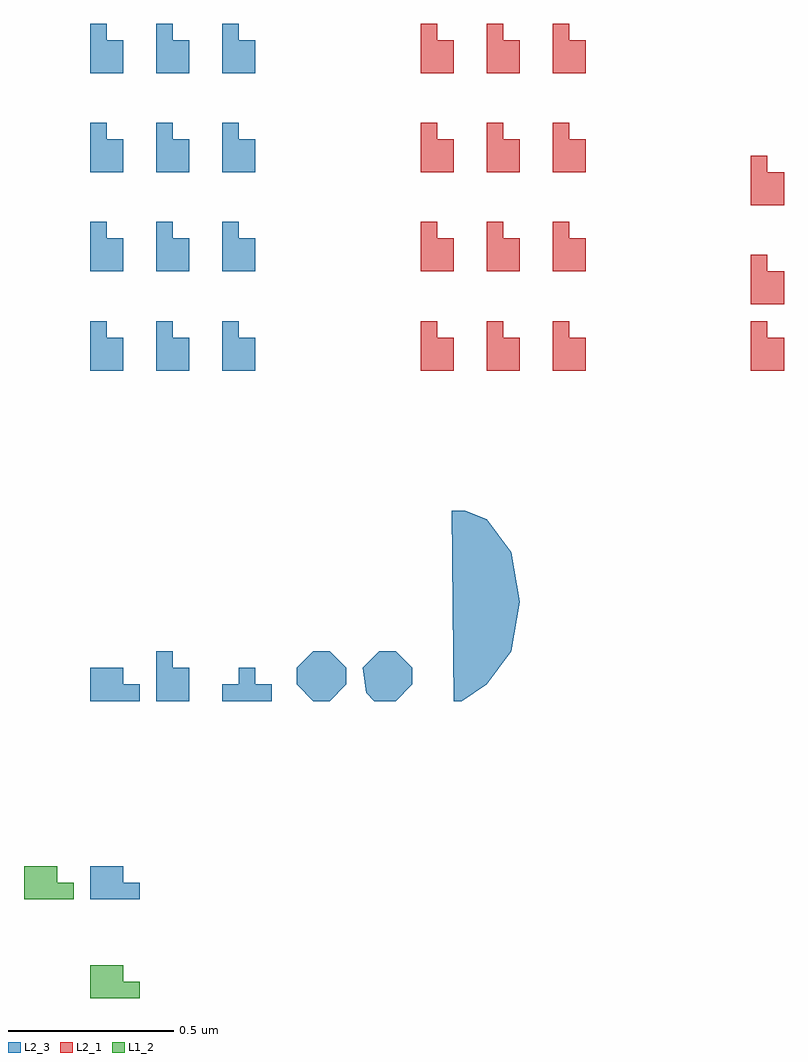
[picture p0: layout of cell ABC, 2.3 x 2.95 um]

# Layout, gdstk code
import gdstk
lib = gdstk.Library(unit=1e-6, precision=1e-09)
def P(c, l, *ps):  # polygons
    for p in ps: c.add(gdstk.Polygon(p, *l))
L1_2 = (1, 2)
L2_1 = (2, 1)
L2_3 = (2, 3)

abc = lib.new_cell('ABC')
P(abc, L1_2, [(0,0.1),(0.15,0.1),(0.15,0.15),(0.1,0.15),(0.1,0.2),(0,0.2)],
  [(-0.2,0.4),(-0.05,0.4),(-0.05,0.45),(-0.1,0.45),(-0.1,0.5),(-0.2,0.5)])
P(abc, L2_1, [(1,2),(1,2.15),(1.05,2.15),(1.05,2.1),(1.1,2.1),(1.1,2)],
  [(1.2,2),(1.2,2.15),(1.25,2.15),(1.25,2.1),(1.3,2.1),(1.3,2)],
  [(1.4,2),(1.4,2.15),(1.45,2.15),(1.45,2.1),(1.5,2.1),(1.5,2)],
  [(1,2.3),(1,2.45),(1.05,2.45),(1.05,2.4),(1.1,2.4),(1.1,2.3)],
  [(1.2,2.3),(1.2,2.45),(1.25,2.45),(1.25,2.4),(1.3,2.4),(1.3,2.3)],
  [(1.4,2.3),(1.4,2.45),(1.45,2.45),(1.45,2.4),(1.5,2.4),(1.5,2.3)],
  [(1,2.6),(1,2.75),(1.05,2.75),(1.05,2.7),(1.1,2.7),(1.1,2.6)],
  [(1.2,2.6),(1.2,2.75),(1.25,2.75),(1.25,2.7),(1.3,2.7),(1.3,2.6)],
  [(1.4,2.6),(1.4,2.75),(1.45,2.75),(1.45,2.7),(1.5,2.7),(1.5,2.6)],
  [(1,2.9),(1,3.05),(1.05,3.05),(1.05,3),(1.1,3),(1.1,2.9)],
  [(1.2,2.9),(1.2,3.05),(1.25,3.05),(1.25,3),(1.3,3),(1.3,2.9)],
  [(1.4,2.9),(1.4,3.05),(1.45,3.05),(1.45,3),(1.5,3),(1.5,2.9)],
  [(2,2),(2,2.15),(2.05,2.15),(2.05,2.1),(2.1,2.1),(2.1,2)],
  [(2,2.2),(2,2.35),(2.05,2.35),(2.05,2.3),(2.1,2.3),(2.1,2.2)],
  [(2,2.5),(2,2.65),(2.05,2.65),(2.05,2.6),(2.1,2.6),(2.1,2.5)])
P(abc, L2_3, [(0,0.4),(0.15,0.4),(0.15,0.45),(0.1,0.45),(0.1,0.5),(0,0.5)],
  [(0,1),(0.15,1),(0.15,1.05),(0.1,1.05),(0.1,1.1),(0,1.1)],
  [(0.2,1),(0.2,1.15),(0.25,1.15),(0.25,1.1),(0.3,1.1),(0.3,1)],
  [(0.4,1),(0.55,1),(0.55,1.05),(0.5,1.05),(0.5,1.1),(0.45,1.1),(0.45,1.05),(0.4,1.05)],
  [(0.7,1),(0.725,1),(0.775,1.05),(0.775,1.1),(0.725,1.15),(0.675,1.15),(0.625,1.1),(0.625,1.05),(0.675,1)],
  [(0.9,1),(0.925,1),(0.975,1.05),(0.975,1.1),(0.925,1.15),(0.875,1.15),(0.825,1.1),(0.835,1.025),(0.86,1)],
  [(1.1,1),(1.125,1),(1.2,1.05),(1.275,1.15),(1.3,1.3),(1.275,1.45),(1.2,1.55),(1.135,1.575),(1.095,1.575)],
  [(0,2),(0,2.15),(0.05,2.15),(0.05,2.1),(0.1,2.1),(0.1,2)],
  [(0.2,2),(0.2,2.15),(0.25,2.15),(0.25,2.1),(0.3,2.1),(0.3,2)],
  [(0.4,2),(0.4,2.15),(0.45,2.15),(0.45,2.1),(0.5,2.1),(0.5,2)],
  [(0,2.3),(0,2.45),(0.05,2.45),(0.05,2.4),(0.1,2.4),(0.1,2.3)],
  [(0.2,2.3),(0.2,2.45),(0.25,2.45),(0.25,2.4),(0.3,2.4),(0.3,2.3)],
  [(0.4,2.3),(0.4,2.45),(0.45,2.45),(0.45,2.4),(0.5,2.4),(0.5,2.3)],
  [(0,2.6),(0,2.75),(0.05,2.75),(0.05,2.7),(0.1,2.7),(0.1,2.6)],
  [(0.2,2.6),(0.2,2.75),(0.25,2.75),(0.25,2.7),(0.3,2.7),(0.3,2.6)],
  [(0.4,2.6),(0.4,2.75),(0.45,2.75),(0.45,2.7),(0.5,2.7),(0.5,2.6)],
  [(0,2.9),(0,3.05),(0.05,3.05),(0.05,3),(0.1,3),(0.1,2.9)],
  [(0.2,2.9),(0.2,3.05),(0.25,3.05),(0.25,3),(0.3,3),(0.3,2.9)],
  [(0.4,2.9),(0.4,3.05),(0.45,3.05),(0.45,3),(0.5,3),(0.5,2.9)])

lib.write_gds('ABC.gds')
